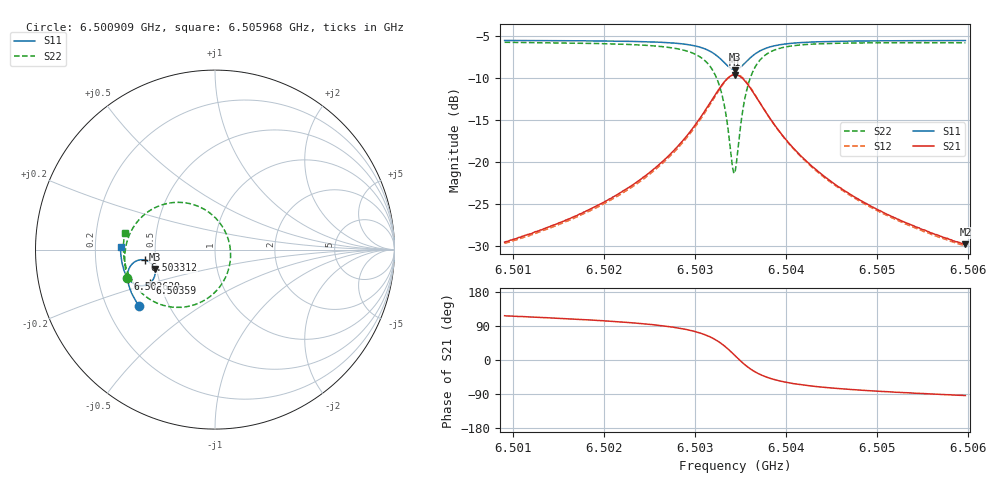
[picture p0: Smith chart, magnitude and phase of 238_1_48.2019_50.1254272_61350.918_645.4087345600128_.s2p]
#  HZ  S  RI  R  50.00
! Rohde & Schwarz Vector Network Analyzer
! Rohde-Schwarz,ZNB20-2Port,1311601062101988,3.16
! Created: UTC 3/20/2024, 11:46:44 AM
! freq[Hz]  re:S11  im:S11  re:S21  im:S21  re:S12  im:S12  re:S22  im:S22
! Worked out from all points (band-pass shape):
!   401 points, 6.500909 GHz to 6.505968 GHz, reference 50 ohm
!   highest |S21| = -9.64 dB at 6.503438 GHz (marker M1); lowest = -29.8 dB at 6.505968 GHz (marker M2)
!   |S21| within 3 dB of the highest: 6.503185 GHz to 6.503691 GHz (505.7 kHz wide, 0.00778 % of centre)
!   lowest |S11| = -9.0 dB at 6.503438 GHz (marker M3), VSWR 2.09, Z = 24.3 - j5.97 ohm
!   |S11| at or under -10 dB: nowhere
!   |S22| runs from -21.4 to -5.8 dB; largest |S21 - S12| = 0.011
!   S11 on the Smith chart (normalised r, x): 6.500909 GHz: 0.34, -0.29; 6.502629 GHz: 0.33, -0.15; 6.503312 GHz: 0.44, -0.06; 6.50359 GHz: 0.44, -0.20; 6.505968 GHz: 0.31, +0.01
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6.5009087e9  -0.4244 -0.3118  -0.015 0.0298  -0.0133 0.0299  -0.4889 -0.1578
6.5017561e9  -0.461 -0.2495  -0.0143 0.0474  -0.0119 0.0471  -0.5026 -0.0682
6.5022115e9  -0.4773 -0.2094  -0.0116 0.0664  -0.00863 0.0651  -0.5003 -0.00431
6.5026036e9  -0.4868 -0.1666  -0.00242 0.0961  0.00109 0.0939  -0.4806 0.0732
6.5026289e9  -0.4871 -0.1633  -0.0013 0.0989  0.00231 0.0964  -0.4783 0.0794
6.5029198e9  -0.4834 -0.1187  0.0259 0.1429  0.0297 0.1384  -0.4213 0.1683
6.5031095e9  -0.4621 -0.0805  0.08 0.1848  0.0826 0.1787  -0.3177 0.241
6.5032234e9  -0.4297 -0.0598  0.1492 0.2024  0.15 0.1961  -0.1931 0.2632
6.5033119e9  -0.3891 -0.0582  0.2288 0.1859  0.2292 0.1809  -0.0558 0.2223
6.5033499e9  -0.3698 -0.066  0.2651 0.1628  0.266 0.1581  0.00427 0.1751
6.5034131e9  -0.3432 -0.0928  0.3128 0.0985  0.3153 0.0934  0.0758 0.0512
6.5034384e9  -0.3368 -0.1073  0.3227 0.0662  0.326 0.0602  0.0863 -0.00901
6.5034637e9  -0.3341 -0.1231  0.3263 0.0323  0.3297 0.0254  0.0841 -0.0708
6.5035269e9  -0.3413 -0.1603  0.3078 -0.0457  0.3097 -0.0556  0.0278 -0.2058
6.5035902e9  -0.3626 -0.1862  0.2647 -0.0996  0.2634 -0.1107  -0.0695 -0.2883
6.5036914e9  -0.402 -0.2012  0.1897 -0.1353  0.1844 -0.1448  -0.2197 -0.3217
6.5038558e9  -0.4483 -0.1915  0.1084 -0.1321  0.1012 -0.137  -0.3668 -0.2747
6.5040329e9  -0.4756 -0.1703  0.0637 -0.1119  0.0575 -0.1142  -0.4387 -0.2097
6.5042858e9  -0.4963 -0.1403  0.0338 -0.0877  0.0291 -0.0881  -0.4818 -0.1375
6.5046653e9  -0.5117 -0.1008  0.015 -0.0644  0.0116 -0.064  -0.5041 -0.0625
6.5051333e9  -0.5211 -0.0576  0.00502 -0.0479  0.00281 -0.0472  -0.5102 0.00321
6.5059681e9  -0.5259 0.0131  -0.00211 -0.0322  -0.00338 -0.0314  -0.5022 0.0913
